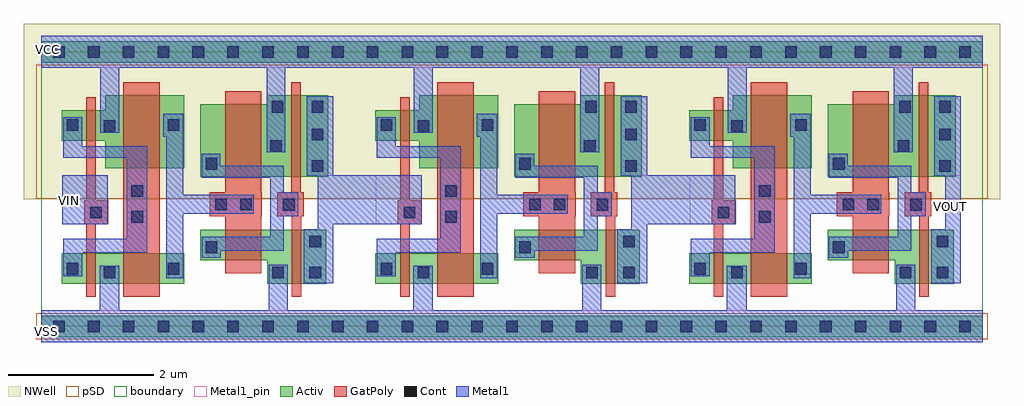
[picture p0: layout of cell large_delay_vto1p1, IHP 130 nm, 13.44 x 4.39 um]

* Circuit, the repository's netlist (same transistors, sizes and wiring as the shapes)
* Extracted by KLayout with SG13G2 LVS runset on : 02/07/2025 06:27

.SUBCKT large_delay
M$1 \$5 A VSS VSS sg13_lv_nmos L=0.13u W=0.42u AS=0.1428p AD=0.0798p PS=1.52u
+ PD=0.8u
M$2 VSS \$5 \$7 VSS sg13_lv_nmos L=0.5u W=0.42u AS=0.0798p AD=0.1428p PS=0.8u
+ PD=1.52u
M$3 \$9 A|X VSS VSS sg13_lv_nmos L=0.13u W=0.42u AS=0.1428p AD=0.0798p PS=1.52u
+ PD=0.8u
M$4 VSS \$9 \$10 VSS sg13_lv_nmos L=0.5u W=0.42u AS=0.0798p AD=0.1428p PS=0.8u
+ PD=1.52u
M$5 \$12 A|X$1 VSS VSS sg13_lv_nmos L=0.13u W=0.42u AS=0.1428p AD=0.0798p
+ PS=1.52u PD=0.8u
M$6 VSS \$12 \$13 VSS sg13_lv_nmos L=0.5u W=0.42u AS=0.0798p AD=0.1428p PS=0.8u
+ PD=1.52u
M$7 VSS \$7 \$8 VSS sg13_lv_nmos L=0.5u W=0.42u AS=0.1426p AD=0.1428p PS=1.16u
+ PD=1.52u
M$8 VSS \$8 A|X VSS sg13_lv_nmos L=0.13u W=0.74u AS=0.1426p AD=0.2516p PS=1.16u
+ PD=2.16u
M$9 VSS \$10 \$11 VSS sg13_lv_nmos L=0.5u W=0.42u AS=0.1426p AD=0.1428p
+ PS=1.16u PD=1.52u
M$10 VSS \$11 A|X$1 VSS sg13_lv_nmos L=0.13u W=0.74u AS=0.1426p AD=0.2516p
+ PS=1.16u PD=2.16u
M$11 VSS \$13 \$14 VSS sg13_lv_nmos L=0.5u W=0.42u AS=0.1426p AD=0.1428p
+ PS=1.16u PD=1.52u
M$12 VSS \$14 X VSS sg13_lv_nmos L=0.13u W=0.74u AS=0.1426p AD=0.2516p PS=1.16u
+ PD=2.16u
M$13 VDD A \$5 VDD sg13_lv_pmos L=0.13u W=0.42u AS=0.1523p AD=0.1428p PS=1.38u
+ PD=1.52u
M$14 VDD \$5 \$7 VDD sg13_lv_pmos L=0.5u W=1u AS=0.1523p AD=0.34p PS=1.38u
+ PD=2.68u
M$15 VDD A|X \$9 VDD sg13_lv_pmos L=0.13u W=0.42u AS=0.1523p AD=0.1428p
+ PS=1.38u PD=1.52u
M$16 VDD \$9 \$10 VDD sg13_lv_pmos L=0.5u W=1u AS=0.1523p AD=0.34p PS=1.38u
+ PD=2.68u
M$17 VDD A|X$1 \$12 VDD sg13_lv_pmos L=0.13u W=0.42u AS=0.1523p AD=0.1428p
+ PS=1.38u PD=1.52u
M$18 VDD \$12 \$13 VDD sg13_lv_pmos L=0.5u W=1u AS=0.1523p AD=0.34p PS=1.38u
+ PD=2.68u
M$19 \$8 \$7 VDD VDD sg13_lv_pmos L=0.5u W=1u AS=0.34p AD=0.2254p PS=2.68u
+ PD=1.53u
M$20 VDD \$8 A|X VDD sg13_lv_pmos L=0.13u W=1.12u AS=0.2254p AD=0.4256p
+ PS=1.53u PD=3u
M$21 \$11 \$10 VDD VDD sg13_lv_pmos L=0.5u W=1u AS=0.34p AD=0.2254p PS=2.68u
+ PD=1.53u
M$22 VDD \$11 A|X$1 VDD sg13_lv_pmos L=0.13u W=1.12u AS=0.2254p AD=0.4256p
+ PS=1.53u PD=3u
M$23 \$14 \$13 VDD VDD sg13_lv_pmos L=0.5u W=1u AS=0.34p AD=0.2254p PS=2.68u
+ PD=1.53u
M$24 VDD \$14 X VDD sg13_lv_pmos L=0.13u W=1.12u AS=0.2254p AD=0.4256p PS=1.53u
+ PD=3u
.ENDS large_delay

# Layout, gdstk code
import gdstk
lib = gdstk.Library(unit=1e-6, precision=1e-09)
def R(c, l, rs):  # rectangles x0, y0, x1, y1
    for r in rs: c.add(gdstk.rectangle(r[:2], r[2:], *l))
def P(c, l, *ps):  # polygons
    for p in ps: c.add(gdstk.Polygon(p, *l))
Activ = (1, 0)
GatPoly = (5, 0)
Cont = (6, 0)
Metal1 = (8, 0)
Metal1_pin = (8, 2)
pSD = (14, 0)
NWell = (31, 0)
boundary = (189, 4)

sg13g2_dlygate4sd3_1 = lib.new_cell('sg13g2_dlygate4sd3_1')
R(sg13g2_dlygate4sd3_1, Activ, [(0,-0.15,4.32,0.15), (0.28,0.59,1.97,1.01), (0,3.63,4.32,3.93)])
P(sg13g2_dlygate4sd3_1, Activ, [(2.19,2.06),(2.19,3.06),(3.1,3.06),(3.1,3.18),(3.95,3.18),(3.95,2.06)],
  [(3.11,0.59),(3.11,0.91),(2.19,0.91),(2.19,1.33),(3.92,1.33),(3.92,0.59)],
  [(0.88,2.18),(0.88,2.555),(0.28,2.555),(0.28,2.975),(0.88,2.975),(0.88,3.18),(1.97,3.18),(1.97,2.18)])
R(sg13g2_dlygate4sd3_1, GatPoly, [(1.13,0.41,1.63,3.36)])
P(sg13g2_dlygate4sd3_1, GatPoly, [(0.62,0.41),(0.62,1.41),(0.59,1.41),(0.59,1.74),(0.62,1.74),(0.62,3.155),(0.75,3.155),(0.75,1.74),(0.92,1.74),(0.92,1.41),(0.75,1.41),(0.75,0.41)],
  [(3.45,0.41),(3.45,1.515),(3.245,1.515),(3.245,1.845),(3.44,1.845),(3.44,3.36),(3.57,3.36),(3.57,1.845),(3.61,1.845),(3.61,1.515),(3.58,1.515),(3.58,0.41)],
  [(2.53,0.73),(2.53,1.52),(2.315,1.52),(2.315,1.85),(2.53,1.85),(2.53,3.24),(3.03,3.24),(3.03,1.85),(3.035,1.85),(3.035,1.52),(3.03,1.52),(3.03,0.73)])
R(sg13g2_dlygate4sd3_1, Cont, [(0.16,-0.08,0.32,0.08), (0.16,-0.08,0.32,0.08), (0.64,-0.08,0.8,0.08), (0.64,-0.08,0.8,0.08), (1.12,-0.08,1.28,0.08), (1.12,-0.08,1.28,0.08), (1.6,-0.08,1.76,0.08), (1.6,-0.08,1.76,0.08), (2.08,-0.08,2.24,0.08), (2.08,-0.08,2.24,0.08), (2.56,-0.08,2.72,0.08), (2.56,-0.08,2.72,0.08), (3.04,-0.08,3.2,0.08), (3.04,-0.08,3.2,0.08), (3.52,-0.08,3.68,0.08), (3.52,-0.08,3.68,0.08), (4,-0.08,4.16,0.08), (4,-0.08,4.16,0.08), (0.86,0.66,1.02,0.82), (3.69,0.66,3.85,0.82), (3.18,0.665,3.34,0.825), (0.35,0.715,0.51,0.875), (1.74,0.715,1.9,0.875), (2.26,1.01,2.42,1.17), (3.69,1.09,3.85,1.25), (1.24,1.43,1.4,1.59), (0.67,1.49,0.83,1.65), (3.325,1.595,3.485,1.755), (2.395,1.6,2.555,1.76), (2.735,1.6,2.895,1.76), (1.24,1.785,1.4,1.945), (3.72,2.13,3.88,2.29), (2.26,2.16,2.42,2.32), (3.15,2.405,3.31,2.565), (3.72,2.565,3.88,2.725), (0.86,2.68,1.02,2.84), (0.35,2.695,0.51,2.855), (1.74,2.695,1.9,2.855), (3.17,2.945,3.33,3.105), (3.72,2.945,3.88,3.105), (0.16,3.7,0.32,3.86), (0.16,3.7,0.32,3.86), (0.64,3.7,0.8,3.86), (0.64,3.7,0.8,3.86), (1.12,3.7,1.28,3.86), (1.12,3.7,1.28,3.86), (1.6,3.7,1.76,3.86), (1.6,3.7,1.76,3.86), (2.08,3.7,2.24,3.86), (2.08,3.7,2.24,3.86), (2.56,3.7,2.72,3.86), (2.56,3.7,2.72,3.86), (3.04,3.7,3.2,3.86), (3.04,3.7,3.2,3.86), (3.52,3.7,3.68,3.86), (3.52,3.7,3.68,3.86), (4,3.7,4.16,3.86), (4,3.7,4.16,3.86)])
R(sg13g2_dlygate4sd3_1, Metal1, [(0.285,1.41,0.915,2.08)])
P(sg13g2_dlygate4sd3_1, Metal1, [(3.61,0.595),(3.61,1.34),(3.805,1.34),(3.805,2.075),(3.655,2.075),(3.655,3.17),(4.02,3.17),(4.02,0.595)],
  [(0,-0.22),(0,0.22),(0.8,0.22),(0.8,0.835),(1.07,0.835),(1.07,0.22),(3.13,0.22),(3.13,0.85),(3.39,0.85),(3.39,0.22),(4.32,0.22),(4.32,-0.22)],
  [(3.1,2.395),(3.1,3.56),(1.07,3.56),(1.07,2.665),(0.81,2.665),(0.81,3.56),(0,3.56),(0,4),(4.32,4),(4.32,3.56),(3.36,3.56),(3.36,2.395)],
  [(2.205,0.945),(2.205,1.235),(3.15,1.235),(3.15,2.045),(2.205,2.045),(2.205,2.38),(2.465,2.38),(2.465,2.215),(3.34,2.215),(3.34,1.845),(3.535,1.845),(3.535,1.515),(3.34,1.515),(3.34,1.045),(2.47,1.045),(2.47,0.945)],
  [(1.72,0.665),(1.72,2.615),(1.675,2.615),(1.675,2.93),(1.955,2.93),(1.955,1.81),(2.925,1.81),(2.925,1.55),(1.955,1.55),(1.955,0.665)],
  [(0.3,0.69),(0.3,1.205),(1.175,1.205),(1.175,2.32),(0.3,2.32),(0.3,2.88),(0.56,2.88),(0.56,2.48),(1.455,2.48),(1.455,1.015),(0.56,1.015),(0.56,0.69)])
R(sg13g2_dlygate4sd3_1, Metal1_pin, [(0,-0.22,4.32,0.22), (0.285,1.41,0.915,2.08), (3.655,2.075,4.02,3.17), (0,3.56,4.32,4)])
R(sg13g2_dlygate4sd3_1, pSD, [(-0.07,-0.18,4.39,0.18), (-0.07,1.76,4.39,3.6)])
R(sg13g2_dlygate4sd3_1, NWell, [(-0.24,1.75,4.56,4.17)])
R(sg13g2_dlygate4sd3_1, boundary, [(0,0,4.32,3.78)])
sg13g2_dlygate4sd3_1.add(gdstk.Label('A', (0.62,1.755), layer=8, texttype=25))
sg13g2_dlygate4sd3_1.add(gdstk.Label('VDD', (2.16,3.78), layer=8, texttype=25))
sg13g2_dlygate4sd3_1.add(gdstk.Label('VSS', (2.16,0), layer=8, texttype=25))
sg13g2_dlygate4sd3_1.add(gdstk.Label('X', (3.865,2.67), layer=8, texttype=25))

large_delay_vto1p1 = lib.new_cell('large_delay_vto1p1')
R(large_delay_vto1p1, Metal1, [(5.02,2.41,5.605,3.08), (9.34,2.41,9.925,3.08)])
large_delay_vto1p1.add(gdstk.Reference(sg13g2_dlygate4sd3_1, (1,1)))
large_delay_vto1p1.add(gdstk.Reference(sg13g2_dlygate4sd3_1, (5.32,1)))
large_delay_vto1p1.add(gdstk.Reference(sg13g2_dlygate4sd3_1, (9.64,1)))
large_delay_vto1p1.add(gdstk.Label('VIN', (1.39,2.73), layer=8, texttype=2))
large_delay_vto1p1.add(gdstk.Label('VOUT', (13.525,2.65), layer=8, texttype=2))
large_delay_vto1p1.add(gdstk.Label('VCC', (1.09,4.82), layer=8, texttype=2))
large_delay_vto1p1.add(gdstk.Label('VSS', (1.065,0.93), layer=8, texttype=2))

lib.write_gds('large_delay_vto1p1.gds')
